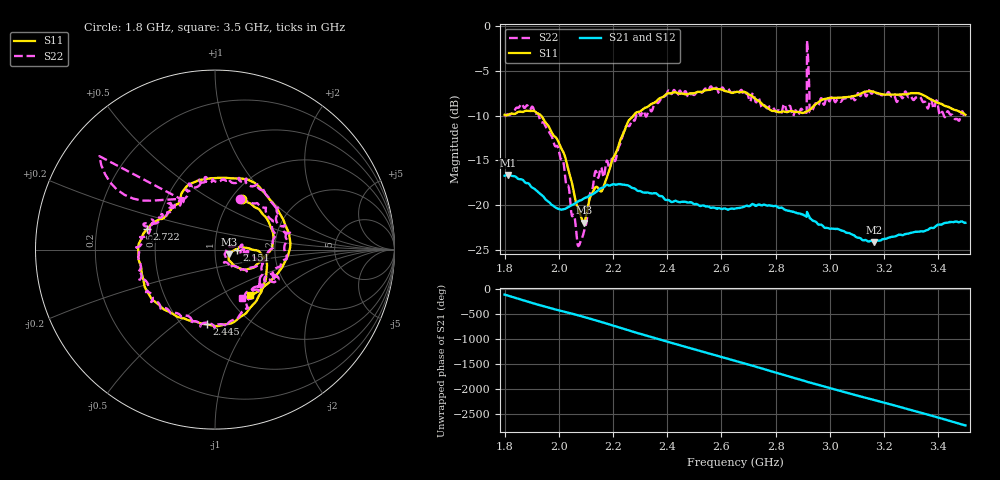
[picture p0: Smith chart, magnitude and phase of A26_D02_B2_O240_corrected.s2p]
! Created with skrf 1.9.0 (http://scikit-rf.org).
# Hz S RI R 50.0
!freq ReS11 ImS11 ReS21 ImS21 ReS12 ImS12 ReS22 ImS22
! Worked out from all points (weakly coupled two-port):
!   1601 points, 1.8 GHz to 3.5 GHz, reference 50 ohm
!   highest |S21| = -16.63 dB at 1.812 GHz (marker M1); lowest = -24.1 dB at 3.163 GHz (marker M2)
!   lowest |S11| = -21.9 dB at 2.092 GHz (marker M3), VSWR 1.17, Z = 58.2 - j2.8 ohm
!   |S11| at or under -10 dB: 1.934 GHz to 2.276 GHz (341.2 MHz wide, 16.2 % of centre)
!   |S22| runs from -24.6 to -1.6 dB; largest |S21 - S12| = 0.0025
!   S11 on the Smith chart (normalised r, x): 1.8 GHz: 1.12, +0.70; 2.151 GHz: 1.28, +0.00; 2.445 GHz: 0.65, -0.66; 2.722 GHz: 0.44, +0.12; 3.5 GHz: 1.26, -0.71
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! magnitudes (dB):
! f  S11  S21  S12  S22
! 1.8 GHz  -9.9  -16.7  -16.7  -10.1
! 1.812 GHz  -9.9  -16.6  -16.6  -9.9
! 1.901 GHz  -9.5  -18.0  -17.9  -9.0
! 1.966 GHz  -11.4  -19.7  -19.8  -11.9
! 2.02 GHz  -14.3  -20.4  -20.4  -15.8
! 2.07 GHz  -20.3  -19.6  -19.6  -24.4
! 2.084 GHz  -21.4  -19.4  -19.4  -23.7
! 2.092 GHz  -21.9  -19.2  -19.3  -23.0
! 2.13 GHz  -18.2  -18.6  -18.7  -16.9
! 2.151 GHz  -18.3  -18.2  -18.2  -16.3
! 2.259 GHz  -10.5  -17.8  -17.8  -11.2
! 2.367 GHz  -8.2  -18.9  -18.8  -8.6
! 2.445 GHz  -7.6  -19.6  -19.6  -7.2
! 2.65 GHz  -7.4  -20.4  -20.3  -7.3
! 2.722 GHz  -8.1  -20.0  -19.9  -8.1
! 2.906 GHz  -9.7  -21.1  -21.1  -9.8
! 2.915 GHz  -9.5  -21.3  -21.3  -9.7
! 2.924 GHz  -9.4  -21.3  -21.2  -7.0
! 2.934 GHz  -9.1  -21.6  -21.6  -9.5
! 3.163 GHz  -7.4  -24.1  -24.1  -7.2
! 3.217 GHz  -7.7  -23.6  -23.6  -7.4
! 3.5 GHz  -9.9  -22.0  -21.9  -10.3
